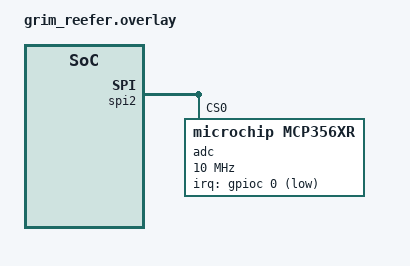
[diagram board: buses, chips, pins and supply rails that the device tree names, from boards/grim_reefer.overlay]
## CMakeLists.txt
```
cmake_minimum_required(VERSION 3.20.0)

find_package(Zephyr REQUIRED HINTS $ENV{ZEPHYR_BASE})
project(grim_reefer LANGUAGES C)

FILE(GLOB sources src/*.c)
target_sources(app PRIVATE ${sources})
target_include_directories(app PRIVATE ${CMAKE_CURRENT_SOURCE_DIR}/include)
```

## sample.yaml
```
sample:
  description:
  name: grim_reefer
common:
  build_only: true
  platform_allow:
    - grim_reefer
tests:
  solids_test.default: {}
```

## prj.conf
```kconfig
CONFIG_DEBUG=y
CONFIG_DEBUG_THREAD_INFO=y

CONFIG_LOG=y
CONFIG_LOG_MODE_IMMEDIATE=y
CONFIG_CRC=y

CONFIG_SMF=y
CONFIG_EVENTS=y
CONFIG_BASE64=y

CONFIG_GPIO=y
CONFIG_SPI=y
CONFIG_I2C=y

CONFIG_ADC=y
CONFIG_ADC_LOG_LEVEL_DBG=y
# CONFIG_MCP356X=n # old driver
CONFIG_ADC_MCP356XR=y # new driver: https://github.com/zephyrproject-rtos/zephyr/blob/main/drivers/adc/Kconfig.mcp356xr
CONFIG_ADC_MCP356XR_POLL=y
CONFIG_ADC_MCP356XR_THREAD_STACK_SIZE=2048
CONFIG_INA260=y

CONFIG_SERIAL=y
CONFIG_UART_INTERRUPT_DRIVEN=y
CONFIG_CBPRINTF_FP_SUPPORT=y

CONFIG_SPI_NOR_SFDP_RUNTIME=y
CONFIG_FLASH=y
CONFIG_FLASH_MAP=y
CONFIG_FLASH_PAGE_LAYOUT=y
CONFIG_DISK_ACCESS=y
CONFIG_FILE_SYSTEM=y

CONFIG_SHELL=y
CONFIG_FLASH_SHELL=y
CONFIG_SHELL_BACKEND_SERIAL=y
CONFIG_UART_CONSOLE=y
```

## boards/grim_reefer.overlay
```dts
/delete-node/ &adc;

/ {
    aliases {
        adc0 = &adc;
    };
};

&spi2 {
    status = "okay";
    adc: mcp3561@0 { // new and cool driver
        compatible = "microchip,mcp356xr";
        status = "okay";
        reg = <0>;
        #io-channel-cells = <1>;
        address = <1>;
        analog-clock-prescaler = <0>;
        boost-current-bias = <0>;
        spi-max-frequency = <DT_FREQ_M(10)>;
        irq-gpios = <&gpioc 0 GPIO_ACTIVE_LOW>;
    };
};
```

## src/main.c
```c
#include "control.h"

#include <zephyr/kernel.h>
#include <zephyr/device.h>
#include <zephyr/shell/shell.h>
#include <zephyr/logging/log.h>

LOG_MODULE_REGISTER(main, LOG_LEVEL_INF);

int main(void)
{
	LOG_INF("Solids Test Start");

	control_init();

	LOG_INF("Use 'test start' to begin test");
    LOG_INF("Commands: test start | test stop | test dump");

	while(1){
        k_sleep(K_MSEC(10));
    }

	return 0;
}
```

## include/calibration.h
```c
#ifndef CALIBRATION_H
#define CALIBRATION_H


#endif // CALIBRATION_H
```

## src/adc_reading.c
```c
#include "adc_reading.h"
#include "config.h"
#include "flash_storage.h"

#include <stdio.h>
#include <zephyr/kernel.h>
#include <zephyr/drivers/adc.h>
#include <zephyr/logging/log.h>
#include <stdint.h>

LOG_MODULE_REGISTER(adc_reader, LOG_LEVEL_INF);

#define ADC_NODE DT_ALIAS(adc0)

#if !DT_NODE_HAS_STATUS(ADC_NODE, okay)
#error "No ADC node found"
#endif

static const struct device *adc_dev = DEVICE_DT_GET(ADC_NODE);

extern struct k_msgq adc_data_queue;

#define BEGIN_READING_EVENT 1
#define STOP_READING_EVENT  2

static K_EVENT_DEFINE(adc_control_event);
static K_TIMER_DEFINE(adc_timer, NULL, NULL);

void adc_reading_task(void);

K_THREAD_DEFINE(adc_thread, 1024, adc_reading_task, NULL, NULL, NULL, ADC_READ_PRIORITY, 0, THREAD_START_DELAY);

static uint32_t adc_buffer;
static struct adc_sequence sequence = {
    .buffer = &adc_buffer,
    .buffer_size = sizeof(adc_buffer),
    .resolution = 24
};

static struct adc_channel_cfg channel_cfg = {
    .gain = ADC_GAIN_1,
    .reference = ADC_REF_INTERNAL,
    .acquisition_time = ADC_ACQ_TIME_DEFAULT,
    .channel_id = 0,
};

void adc_init(){
    if(!device_is_ready(adc_dev)){
        LOG_ERR("ADC device not ready");
        return;
    }

    int ret = adc_channel_setup(adc_dev, &channel_cfg);
    if(ret < 0){
        LOG_ERR("Failed to configure ADC channel (%d)", ret);
        return;
    }

    LOG_INF("ADC initialized");
}

void adc_reading_task(){
    int ret;
    uint32_t adc_val = 0;
    struct adc_sample sample = {0};

    LOG_INF("ADC reading task waiting to start...");

    // Wait for start event
    k_event_wait(&adc_control_event, BEGIN_READING_EVENT, false, K_FOREVER);

    LOG_INF("ADC reading started");

    k_timer_start(&adc_timer, K_MSEC(1), K_MSEC(1)); // 1kHz loop

    while(true){
        uint32_t events = k_event_wait(&adc_control_event, BEGIN_READING_EVENT | STOP_READING_EVENT, false, K_NO_WAIT);
        if(events & STOP_READING_EVENT){
            LOG_INF("ADC reading stopped");
            break;
        }

        k_timer_status_sync(&adc_timer);

        sequence.buffer = &adc_val;
        sequence.buffer_size = sizeof(adc_val);

        // Read from ADC
        ret = adc_read(adc_dev, &sequence);
        if(ret < 0){
            LOG_ERR("ADC read failed (%d)", ret);
            continue;
        }

        sample.timestamp = k_uptime_get_32();
        sample.value = adc_val;

        k_msgq_put(&adc_data_queue, &sample, K_NO_WAIT);
    }

    k_timer_stop(&adc_timer);
}

void adc_start_reading(){
    k_event_set(&adc_control_event, BEGIN_READING_EVENT);
    LOG_INF("ADC reading started");
}

void adc_stop_recording(){
    k_event_set(&adc_control_event, STOP_READING_EVENT);
    LOG_INF("ADC reading stopped");
}
```

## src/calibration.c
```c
#include "calibration.h"
#include "config.h"
```

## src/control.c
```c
#include "control.h"
#include "config.h"
#include "adc_reading.h"
#include "flash_storage.h"

#include <zephyr/kernel.h>
#include <zephyr/logging/log.h>
#include <zephyr/shell/shell.h>
#include <stdbool.h>

LOG_MODULE_REGISTER(control, LOG_LEVEL_INF);

static int test_number = 0;
static bool test_running = false;

void control_init(){
    LOG_INF("Initializing...");
    adc_init();
}

void control_start_test(){
    if(test_running){
        LOG_WRN("Test already running");
        return;
    }

    LOG_INF("Starting test run #%d", test_number + 1);
    test_running = true;

    start_flash_storage();
    adc_start_reading();

    test_number++;

    // Run test for 10 seconds
    k_sleep(K_SECONDS(TEST_DURATION));
    control_stop_test();
}

void control_stop_test(){
    if(!test_running){
        LOG_WRN("No test running");
        return;
    }

    LOG_INF("Stopping test...");
    adc_stop_recording();
    stop_flash_storage();
    test_running = false;
}

void control_dump_data(const struct shell *shell){
    flash_dump_all(shell);
}

bool control_is_running(){
    return test_running;
}
```

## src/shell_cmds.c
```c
#include "control.h"
#include "flash_storage.h"
#include "adc_reading.h"

#include <zephyr/shell/shell.h>
#include <zephyr/logging/log.h>

LOG_MODULE_REGISTER(shell_cmds, LOG_LEVEL_INF);

static int cmd_test_start(const struct shell *shell, size_t argc, char **argv){
    ARG_UNUSED(argc);
    ARG_UNUSED(argv);
    shell_print(shell, "Starting test...");
    control_start_test();
    return 0;
}

static int cmd_test_stop(const struct shell *shell, size_t argc, char **argv){
    ARG_UNUSED(argc);
    ARG_UNUSED(argv);
    shell_print(shell, "Stopping test...");
    control_stop_test();
    return 0;
}

static int cmd_test_dump(const struct shell *shell, size_t argc, char **argv){
    ARG_UNUSED(argc);
    ARG_UNUSED(argv);
    shell_print(shell, "Dumping stored test data...");
    control_dump_data(shell);
    return 0;
}

SHELL_STATIC_SUBCMD_SET_CREATE(sub_test,
    SHELL_CMD(start, NULL, "Start test", cmd_test_start),
    SHELL_CMD(stop, NULL, "Stop test", cmd_test_stop),
    SHELL_CMD(dump, NULL, "Dump all flash data", cmd_test_dump),
    SHELL_SUBCMD_SET_END
);

SHELL_CMD_REGISTER(test, &sub_test, "Solids Test Board control commands", NULL);
```
